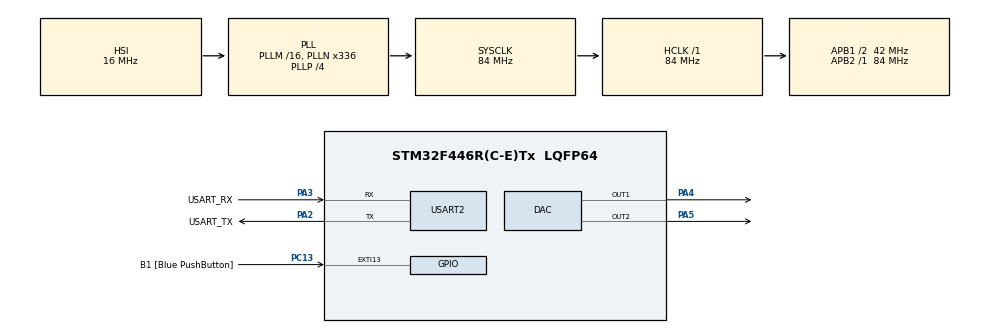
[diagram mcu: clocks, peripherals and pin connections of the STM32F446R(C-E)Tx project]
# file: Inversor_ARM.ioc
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DAC.DAC_Trigger=DAC_TRIGGER_T6_TRGO
DAC.DAC_Trigger2=DAC_TRIGGER_T7_TRGO
Dma.DAC1.0.Direction=DMA_MEMORY_TO_PERIPH
Dma.DAC1.0.FIFOMode=DMA_FIFOMODE_DISABLE
Dma.DAC1.0.Instance=DMA1_Stream5
Dma.DAC1.0.MemDataAlignment=DMA_MDATAALIGN_HALFWORD
Dma.DAC1.0.MemInc=DMA_MINC_ENABLE
Dma.DAC1.0.Mode=DMA_CIRCULAR
Dma.DAC1.0.PeriphDataAlignment=DMA_PDATAALIGN_HALFWORD
Dma.DAC1.0.PeriphInc=DMA_PINC_DISABLE
Dma.DAC1.0.Priority=DMA_PRIORITY_LOW
Dma.DAC2.1.Direction=DMA_MEMORY_TO_PERIPH
Dma.DAC2.1.FIFOMode=DMA_FIFOMODE_DISABLE
Dma.DAC2.1.Instance=DMA1_Stream6
Dma.DAC2.1.MemDataAlignment=DMA_MDATAALIGN_HALFWORD
Dma.DAC2.1.MemInc=DMA_MINC_ENABLE
Dma.DAC2.1.Mode=DMA_CIRCULAR
Dma.DAC2.1.PeriphDataAlignment=DMA_PDATAALIGN_HALFWORD
Dma.DAC2.1.PeriphInc=DMA_PINC_DISABLE
Dma.DAC2.1.Priority=DMA_PRIORITY_LOW
Dma.Request0=DAC1
Dma.Request1=DAC2
Mcu.Family=STM32F4
Mcu.Name=STM32F446R(C-E)Tx
Mcu.Package=LQFP64
NVIC.DMA1_Stream5_IRQn=true\:0\:0\:false\:false\:true\:false\:true
NVIC.DMA1_Stream6_IRQn=true\:0\:0\:false\:false\:true\:false\:true
NVIC.PriorityGroup=NVIC_PRIORITYGROUP_0
PA13.GPIO_Label=TMS
PA13.Mode=Serial_Wire
PA13.Signal=SYS_JTMS-SWDIO
PA14.GPIO_Label=TCK
PA14.Mode=Serial_Wire
PA14.Signal=SYS_JTCK-SWCLK
PA2.GPIO_Label=USART_TX
PA2.Mode=Asynchronous
PA2.Signal=USART2_TX
PA3.GPIO_Label=USART_RX
PA3.Mode=Asynchronous
PA3.Signal=USART2_RX
PA4.Signal=COMP_DAC1_group
PA5.Signal=COMP_DAC2_group
PB3.GPIO_Label=SWO
PB3.Signal=SYS_JTDO-SWO
PC13.GPIO_Label=B1 [Blue PushButton]
PC13.GPIO_ModeDefaultEXTI=GPIO_MODE_IT_FALLING
PC13.Signal=GPXTI13
PC14-OSC32_IN.Mode=LSE-External-Oscillator
PC14-OSC32_IN.Signal=RCC_OSC32_IN
PC15-OSC32_OUT.Mode=LSE-External-Oscillator
PC15-OSC32_OUT.Signal=RCC_OSC32_OUT
PH0-OSC_IN.Mode=HSE-External-Oscillator
PH0-OSC_IN.Signal=RCC_OSC_IN
PH1-OSC_OUT.Mode=HSE-External-Oscillator
PH1-OSC_OUT.Signal=RCC_OSC_OUT
ProjectManager.HeapSize=0x200
ProjectManager.StackSize=0x400
ProjectManager.TargetToolchain=TrueSTUDIO
RCC.48MHZClocksFreq_Value=84000000
RCC.AHBFreq_Value=84000000
RCC.APB1CLKDivider=RCC_HCLK_DIV2
RCC.APB1Freq_Value=42000000
RCC.APB1TimFreq_Value=84000000
RCC.APB2Freq_Value=84000000
RCC.APB2TimFreq_Value=84000000
RCC.CortexFreq_Value=84000000
RCC.FLatency-AdvancedSettings=FLASH_LATENCY_2
RCC.HCLKFreq_Value=84000000
RCC.HSE_VALUE=8000000
RCC.HSI_VALUE=16000000
RCC.PLLN=336
RCC.PLLP=RCC_PLLP_DIV4
RCC.SYSCLKFreq_VALUE=84000000
RCC.SYSCLKSource=RCC_SYSCLKSOURCE_PLLCLK
RCC.USBFreq_Value=168000000
RCC.VCOOutputFreq_Value=336000000
SH.COMP_DAC1_group.0=DAC_OUT1,DAC_OUT1
SH.COMP_DAC2_group.0=DAC_OUT2,DAC_OUT2
TIM6.AutoReloadPreload=TIM_AUTORELOAD_PRELOAD_ENABLE
TIM6.Period=9999
TIM6.Prescaler=83
TIM6.TIM_MasterOutputTrigger=TIM_TRGO_UPDATE
TIM7.AutoReloadPreload=TIM_AUTORELOAD_PRELOAD_ENABLE
TIM7.Period=9999
TIM7.Prescaler=83
TIM7.TIM_MasterOutputTrigger=TIM_TRGO_UPDATE
USART2.VirtualMode=VM_ASYNC
VP_TIM6_VS_ClockSourceINT.Mode=Enable_Timer
VP_TIM7_VS_ClockSourceINT.Mode=Enable_Timer
board=NUCLEO-F446RE

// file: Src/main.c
/* USER CODE BEGIN Header */
/**
  ******************************************************************************
  * @file           : main.c
  * @brief          : Main program body
  ******************************************************************************
  * @attention
  *
  * <h2><center>&copy; Copyright (c) 2019 STMicroelectronics.
  * All rights reserved.</center></h2>
  *
  * This software component is licensed by ST under BSD 3-Clause license,
  * the "License"; You may not use this file except in compliance with the
  * License. You may obtain a copy of the License at:
  *                        opensource.org/licenses/BSD-3-Clause
  *
  ******************************************************************************
  */
/* USER CODE END Header */

#include "main.h"

DAC_HandleTypeDef hdac;
DMA_HandleTypeDef hdma_dac1;
DMA_HandleTypeDef hdma_dac2;

TIM_HandleTypeDef htim6;
TIM_HandleTypeDef htim7;

UART_HandleTypeDef huart2;

/* USER CODE BEGIN PV */
 const uint16_t sine_wave_array [128] = {
		 	 	 	 2048, 2145, 2242, 2339, 2435, 2530,
					 2624, 2717, 2808, 2897, 2984, 3069,
					 3151, 3230, 3307, 3381, 3451, 3518,
					 3581, 3640, 3696, 3748, 3795, 3838,
					 3877, 3911, 3941, 3966, 3986, 4002,
					 4013, 4019, 4020, 4016, 4008, 3995,
					 3977, 3954, 3926, 3894, 3858, 3817,
					 3772, 3722, 3669, 3611, 3550, 3485,
					 3416, 3344, 3269, 3191, 3110, 3027,
					 2941, 2853, 2763, 2671, 2578, 2483,
					 2387, 2291, 2194, 2096, 1999, 1901,
					 1804, 1708, 1612, 1517, 1424, 1332,
					 1242, 1154, 1068, 985, 904, 826, 751,
					 679, 610, 545, 484, 426, 373, 323,
					 278, 237, 201, 169, 141, 118, 100, 87,
					 79, 75, 76, 82, 93, 109, 129, 154,
					 184, 218, 257, 300, 347, 399, 455, 514,
					 577, 644, 714, 788, 865, 944, 1026,
					 1111, 1198, 1287, 1378, 1471, 1565,
					 1660, 1756, 1853, 1950, 2047 };

 const uint16_t triangle_wave_array [65] = {
		 	 	 	 0, 128, 256, 384, 512, 640, 768, 896, 1024,
					 1152, 1280, 1408, 1536, 1664, 1792, 1920, 2048,
					 2176, 2304, 2432, 2560, 2688, 2816, 2944, 3072,
					 3200, 3328, 3456, 3584, 3712, 3840, 3968, 4096,
					 3968, 3840, 3712, 3584, 3456, 3328, 3200, 3072,
					 2944, 2816, 2688, 2560, 2432, 2304, 2176, 2048,
					 1920, 1792, 1664, 1536, 1408, 1280, 1152, 1024,
					 869, 768, 640, 512, 384, 256, 128, 0
 	 	 	 	 	 };
 /* USER CODE END PV */

void SystemClock_Config(void);
static void MX_GPIO_Init(void);
static void MX_DMA_Init(void);
static void MX_DAC_Init(void);
static void MX_TIM6_Init(void);
static void MX_TIM7_Init(void);
static void MX_USART2_UART_Init(void);

int main(void)
{

  /* MCU Configuration--------------------------------------------------------*/

  /* Reset of all peripherals, Initializes the Flash interface and the Systick. */
  HAL_Init();

  /* Configure the system clock */
  SystemClock_Config();

  /* Initialize all configured peripherals */
  MX_GPIO_Init();
  MX_DMA_Init();
  MX_DAC_Init();
  MX_TIM6_Init();
  MX_TIM7_Init();
  MX_USART2_UART_Init();
  /* USER CODE BEGIN 2 */
  HAL_TIM_Base_Start(&htim6);
  HAL_TIM_Base_Start(&htim7);
  HAL_DAC_Start(&hdac,DAC_CHANNEL_1);
  HAL_DAC_Start(&hdac,DAC_CHANNEL_2);
  HAL_DAC_Start_DMA(&hdac, DAC_CHANNEL_1, (uint32_t*)triangle_wave_array, 65, DAC_ALIGN_12B_R);
  HAL_DAC_Start_DMA(&hdac, DAC_CHANNEL_2, (uint32_t*)sine_wave_array, 128, DAC_ALIGN_12B_R);
  /* USER CODE END 2 */

  /* Infinite loop */
  while (1)
  {

  }
}

void SystemClock_Config(void)
{
  RCC_OscInitTypeDef RCC_OscInitStruct = {0};
  RCC_ClkInitTypeDef RCC_ClkInitStruct = {0};

  /** Configure the main internal regulator output voltage
  */
  __HAL_RCC_PWR_CLK_ENABLE();
  __HAL_PWR_VOLTAGESCALING_CONFIG(PWR_REGULATOR_VOLTAGE_SCALE3);
  /** Initializes the CPU, AHB and APB busses clocks
  */
  RCC_OscInitStruct.OscillatorType = RCC_OSCILLATORTYPE_HSI;
  RCC_OscInitStruct.HSIState = RCC_HSI_ON;
  RCC_OscInitStruct.HSICalibrationValue = RCC_HSICALIBRATION_DEFAULT;
  RCC_OscInitStruct.PLL.PLLState = RCC_PLL_ON;
  RCC_OscInitStruct.PLL.PLLSource = RCC_PLLSOURCE_HSI;
  RCC_OscInitStruct.PLL.PLLM = 16;
  RCC_OscInitStruct.PLL.PLLN = 336;
  RCC_OscInitStruct.PLL.PLLP = RCC_PLLP_DIV4;
  RCC_OscInitStruct.PLL.PLLQ = 2;
  RCC_OscInitStruct.PLL.PLLR = 2;
  if (HAL_RCC_OscConfig(&RCC_OscInitStruct) != HAL_OK)
  {
    Error_Handler();
  }
  /** Initializes the CPU, AHB and APB busses clocks
  */
  RCC_ClkInitStruct.ClockType = RCC_CLOCKTYPE_HCLK|RCC_CLOCKTYPE_SYSCLK
                              |RCC_CLOCKTYPE_PCLK1|RCC_CLOCKTYPE_PCLK2;
  RCC_ClkInitStruct.SYSCLKSource = RCC_SYSCLKSOURCE_PLLCLK;
  RCC_ClkInitStruct.AHBCLKDivider = RCC_SYSCLK_DIV1;
  RCC_ClkInitStruct.APB1CLKDivider = RCC_HCLK_DIV2;
  RCC_ClkInitStruct.APB2CLKDivider = RCC_HCLK_DIV1;

  if (HAL_RCC_ClockConfig(&RCC_ClkInitStruct, FLASH_LATENCY_2) != HAL_OK)
  {
    Error_Handler();
  }
}

static void MX_DAC_Init(void)
{

  DAC_ChannelConfTypeDef sConfig = {0};

  /** DAC Initialization
  */
  hdac.Instance = DAC;
  if (HAL_DAC_Init(&hdac) != HAL_OK)
  {
    Error_Handler();
  }
  /** DAC channel OUT1 config
  */
  sConfig.DAC_Trigger = DAC_TRIGGER_T6_TRGO;
  sConfig.DAC_OutputBuffer = DAC_OUTPUTBUFFER_ENABLE;
  if (HAL_DAC_ConfigChannel(&hdac, &sConfig, DAC_CHANNEL_1) != HAL_OK)
  {
    Error_Handler();
  }
  /** DAC channel OUT2 config
  */
  sConfig.DAC_Trigger = DAC_TRIGGER_T7_TRGO;
  if (HAL_DAC_ConfigChannel(&hdac, &sConfig, DAC_CHANNEL_2) != HAL_OK)
  {
    Error_Handler();
  }

}

static void MX_TIM6_Init(void)
{

  TIM_MasterConfigTypeDef sMasterConfig = {0};

  htim6.Instance = TIM6;
  htim6.Init.Prescaler = 41;
  htim6.Init.CounterMode = TIM_COUNTERMODE_UP;
  htim6.Init.Period = 1;
  htim6.Init.AutoReloadPreload = TIM_AUTORELOAD_PRELOAD_ENABLE;
  if (HAL_TIM_Base_Init(&htim6) != HAL_OK)
  {
    Error_Handler();
  }
  sMasterConfig.MasterOutputTrigger = TIM_TRGO_UPDATE;
  sMasterConfig.MasterSlaveMode = TIM_MASTERSLAVEMODE_DISABLE;
  if (HAL_TIMEx_MasterConfigSynchronization(&htim6, &sMasterConfig) != HAL_OK)
  {
    Error_Handler();
  }

}

static void MX_TIM7_Init(void)
{

  TIM_MasterConfigTypeDef sMasterConfig = {0};

  htim7.Instance = TIM7;
  htim7.Init.Prescaler = 9;
  htim7.Init.CounterMode = TIM_COUNTERMODE_UP;
  htim7.Init.Period = 1092;
  htim7.Init.AutoReloadPreload = TIM_AUTORELOAD_PRELOAD_ENABLE;
  if (HAL_TIM_Base_Init(&htim7) != HAL_OK)
  {
    Error_Handler();
  }
  sMasterConfig.MasterOutputTrigger = TIM_TRGO_UPDATE;
  sMasterConfig.MasterSlaveMode = TIM_MASTERSLAVEMODE_DISABLE;
  if (HAL_TIMEx_MasterConfigSynchronization(&htim7, &sMasterConfig) != HAL_OK)
  {
    Error_Handler();
  }

}

static void MX_USART2_UART_Init(void)
{

  huart2.Instance = USART2;
  huart2.Init.BaudRate = 115200;
  huart2.Init.WordLength = UART_WORDLENGTH_8B;
  huart2.Init.StopBits = UART_STOPBITS_1;
  huart2.Init.Parity = UART_PARITY_NONE;
  huart2.Init.Mode = UART_MODE_TX_RX;
  huart2.Init.HwFlowCtl = UART_HWCONTROL_NONE;
  huart2.Init.OverSampling = UART_OVERSAMPLING_16;
  if (HAL_UART_Init(&huart2) != HAL_OK)
  {
    Error_Handler();
  }

}

static void MX_DMA_Init(void)
{

  /* DMA controller clock enable */
  __HAL_RCC_DMA1_CLK_ENABLE();

  /* DMA interrupt init */
  /* DMA1_Stream5_IRQn interrupt configuration */
  HAL_NVIC_SetPriority(DMA1_Stream5_IRQn, 0, 0);
  HAL_NVIC_EnableIRQ(DMA1_Stream5_IRQn);
  /* DMA1_Stream6_IRQn interrupt configuration */
  HAL_NVIC_SetPriority(DMA1_Stream6_IRQn, 0, 0);
  HAL_NVIC_EnableIRQ(DMA1_Stream6_IRQn);

}

static void MX_GPIO_Init(void)
{
  GPIO_InitTypeDef GPIO_InitStruct = {0};

  /* GPIO Ports Clock Enable */
  __HAL_RCC_GPIOC_CLK_ENABLE();
  __HAL_RCC_GPIOH_CLK_ENABLE();
  __HAL_RCC_GPIOA_CLK_ENABLE();
  __HAL_RCC_GPIOB_CLK_ENABLE();

  /*Configure GPIO pin : B1_Pin */
  GPIO_InitStruct.Pin = B1_Pin;
  GPIO_InitStruct.Mode = GPIO_MODE_IT_FALLING;
  GPIO_InitStruct.Pull = GPIO_NOPULL;
  HAL_GPIO_Init(B1_GPIO_Port, &GPIO_InitStruct);

}

void Error_Handler(void)
{
}

/************************ (C) COPYRIGHT STMicroelectronics *****END OF FILE****/
